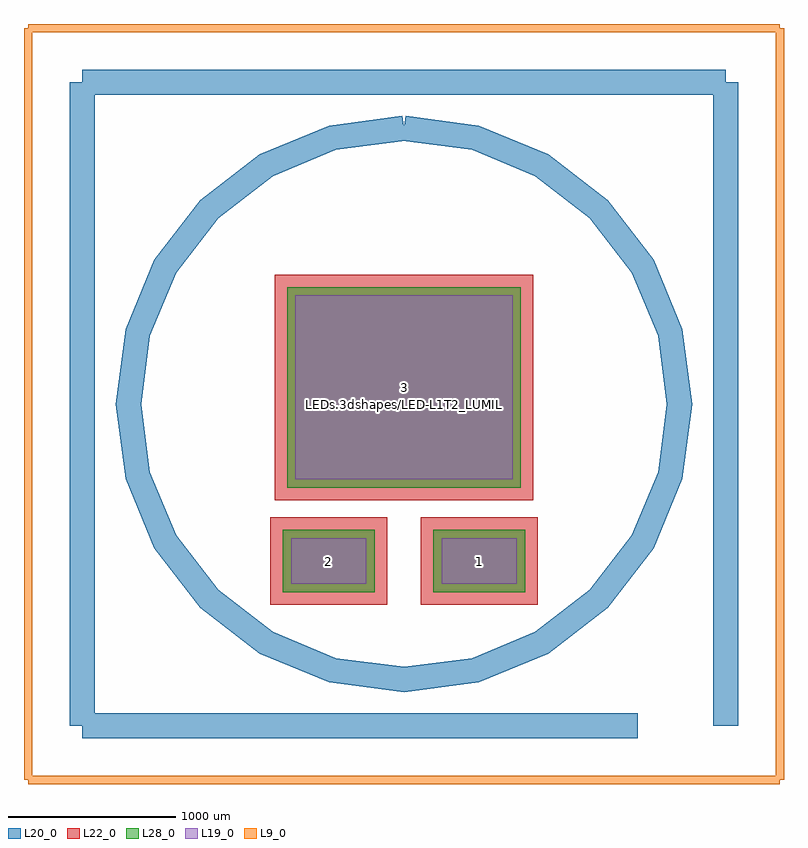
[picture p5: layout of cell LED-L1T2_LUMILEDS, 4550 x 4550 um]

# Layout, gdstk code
import gdstk
lib = gdstk.Library(unit=1e-6, precision=1e-09)
def R(c, l, rs):  # rectangles x0, y0, x1, y1
    for r in rs: c.add(gdstk.rectangle(r[:2], r[2:], *l))
L9_0 = (9, 0)
L19_0 = (19, 0)
L20_0 = (20, 0)
L22_0 = (22, 0)
L28_0 = (28, 0)

led_l1t2_lumileds = lib.new_cell('LED-L1T2_LUMILEDS')
R(led_l1t2_lumileds, L19_0, [(-675,-1077.5,-225,-802.5), (225,-1077.5,675,-802.5), (-650,-450,650,650)])
R(led_l1t2_lumileds, L22_0, [(-800,-1202.5,-100,-677.5), (100,-1202.5,800,-677.5), (-775,-575,775,775)])
R(led_l1t2_lumileds, L28_0, [(-725,-1127.5,-175,-752.5), (175,-1127.5,725,-752.5), (-700,-500,700,700)])
led_l1t2_lumileds.add(gdstk.FlexPath([(1400,-1925),(-1925,-1925)], 149.998, ends="flush", simple_path=True, layer=20, datatype=0))  # L20_0
led_l1t2_lumileds.add(gdstk.FlexPath([(1925,1925),(1925,-1925)], 149.998, ends="flush", simple_path=True, layer=20, datatype=0))  # L20_0
led_l1t2_lumileds.add(gdstk.FlexPath([(-1925,1925),(1925,1925)], 149.998, ends="flush", simple_path=True, layer=20, datatype=0))  # L20_0
led_l1t2_lumileds.add(gdstk.FlexPath([(-1925,-1925),(-1925,1925)], 149.998, ends="flush", simple_path=True, layer=20, datatype=0))  # L20_0
led_l1t2_lumileds.add(gdstk.FlexPath([(2250,-2250),(-2250,-2250)], 50, ends="flush", simple_path=True, layer=9, datatype=0))  # L9_0
led_l1t2_lumileds.add(gdstk.FlexPath([(2250,2250),(2250,-2250)], 50, ends="flush", simple_path=True, layer=9, datatype=0))  # L9_0
led_l1t2_lumileds.add(gdstk.FlexPath([(-2250,2250),(2250,2250)], 50, ends="flush", simple_path=True, layer=9, datatype=0))  # L9_0
led_l1t2_lumileds.add(gdstk.FlexPath([(-2250,-2250),(-2250,2250)], 50, ends="flush", simple_path=True, layer=9, datatype=0))  # L9_0
led_l1t2_lumileds.add(gdstk.FlexPath([(0,1650),(-427.051,1593.778),(-825,1428.942),(-1166.726,1166.726),(-1428.942,825),(-1593.778,427.051),(-1650,0),(-1593.778,-427.051),(-1428.942,-825),(-1166.726,-1166.726),(-825,-1428.942),(-427.051,-1593.778),(0,-1650),(427.051,-1593.778),(825,-1428.942),(1166.726,-1166.726),(1428.942,-825),(1593.778,-427.051),(1650,0),(1593.778,427.051),(1428.942,825),(1166.726,1166.726),(825,1428.942),(427.051,1593.778),(0,1650)], 149.998, ends="flush", simple_path=True, layer=20, datatype=0))  # L20_0
led_l1t2_lumileds.add(gdstk.Label('LEDs.3dshapes/LED-L1T2_LUMILEDS.wrl', (0,0), layer=12, texttype=0))
led_l1t2_lumileds.add(gdstk.Label('3', (0,100), layer=28, texttype=0))
led_l1t2_lumileds.add(gdstk.Label('2', (-450,-940), layer=28, texttype=0))
led_l1t2_lumileds.add(gdstk.Label('1', (450,-940), layer=28, texttype=0))
led_l1t2_lumileds.add(gdstk.Label('type', (0,3000), layer=9, texttype=0))
led_l1t2_lumileds.add(gdstk.Label('devicename', (0,-3000), layer=9, texttype=0))

lib.write_gds('LED-L1T2_LUMILEDS.gds')
